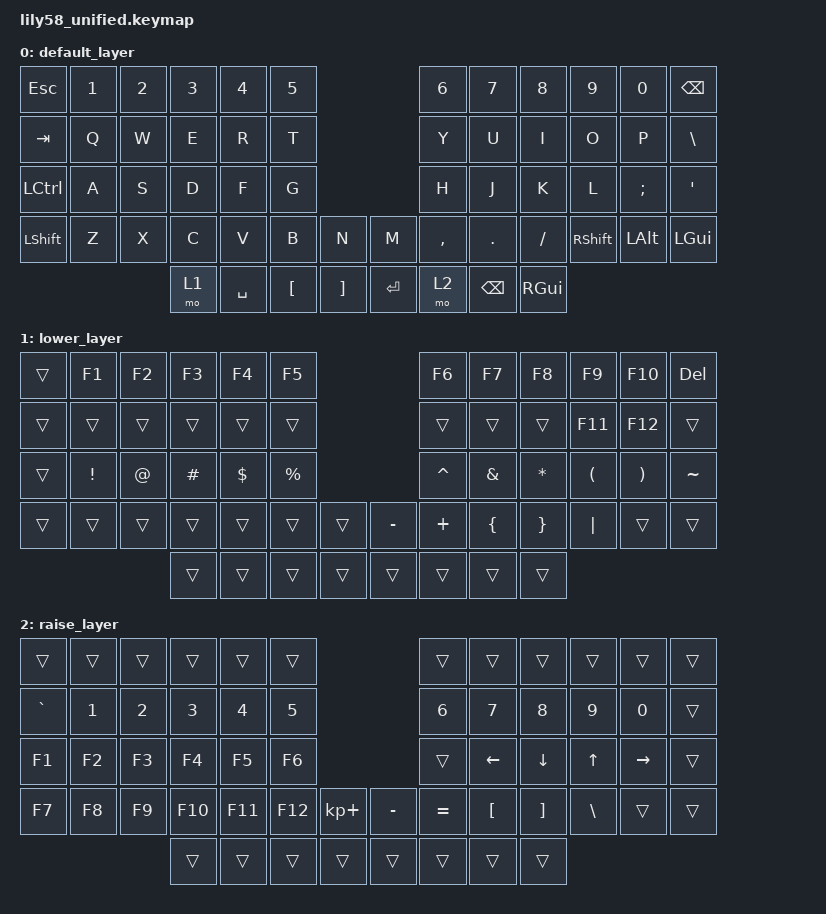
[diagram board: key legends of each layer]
/*
 * Copyright (c) 2024 The ZMK Contributors
 * SPDX-License-Identifier: MIT
 */

#include <behaviors.dtsi>
#include <dt-bindings/zmk/keys.h>

/ {
    keymap {
        compatible = "zmk,keymap";

        default_layer {
            bindings = <
&kp ESC   &kp N1 &kp N2 &kp N3 &kp N4 &kp N5                     &kp N6 &kp N7   &kp N8    &kp N9  &kp N0   &kp BSPC
&kp TAB   &kp Q  &kp W  &kp E  &kp R  &kp T                      &kp Y  &kp U    &kp I     &kp O   &kp P    &kp BSLH
&kp LCTRL &kp A  &kp S  &kp D  &kp F  &kp G                      &kp H  &kp J    &kp K     &kp L   &kp SEMI &kp SQT
&kp LSHFT &kp Z  &kp X  &kp C  &kp V  &kp B                      &kp N  &kp M    &kp COMMA &kp DOT &kp FSLH &kp RSHFT
&kp LALT  &kp LGUI &mo 1 &kp SPACE &kp LBKT   &kp RBKT &kp RET &mo 2  &kp BSPC &kp RGUI
            >;
        };

        lower_layer {
            bindings = <
&trans &kp F1   &kp F2 &kp F3   &kp F4    &kp F5                       &kp F6    &kp F7    &kp F8    &kp F9   &kp F10   &kp DEL
&trans &trans   &trans &trans   &trans    &trans                       &trans    &trans    &trans    &kp F11  &kp F12   &trans
&trans &kp EXCL &kp AT &kp HASH &kp DLLR  &kp PRCNT                    &kp CARET &kp AMPS  &kp ASTRK &kp LPAR &kp RPAR  &kp TILDE
&trans &trans   &trans &trans   &trans    &trans                       &trans    &kp MINUS &kp PLUS  &kp LBRC &kp RBRC  &kp PIPE
&trans &trans   &trans &trans   &trans    &trans   &trans    &trans    &trans    &trans
            >;
        };

        raise_layer {
            bindings = <
&trans    &trans &trans &trans  &trans  &trans                       &trans      &trans    &trans    &trans   &trans    &trans
&kp GRAVE &kp N1 &kp N2 &kp N3  &kp N4  &kp N5                       &kp N6      &kp N7    &kp N8    &kp N9   &kp N0    &trans
&kp F1    &kp F2 &kp F3 &kp F4  &kp F5  &kp F6                       &trans      &kp LEFT  &kp DOWN  &kp UP   &kp RIGHT &trans
&kp F7    &kp F8 &kp F9 &kp F10 &kp F11 &kp F12                      &kp KP_PLUS &kp MINUS &kp EQUAL &kp LBKT &kp RBKT  &kp BSLH
&trans    &trans &trans  &trans  &trans  &trans   &trans    &trans    &trans      &trans
            >;
        };
    };
};
